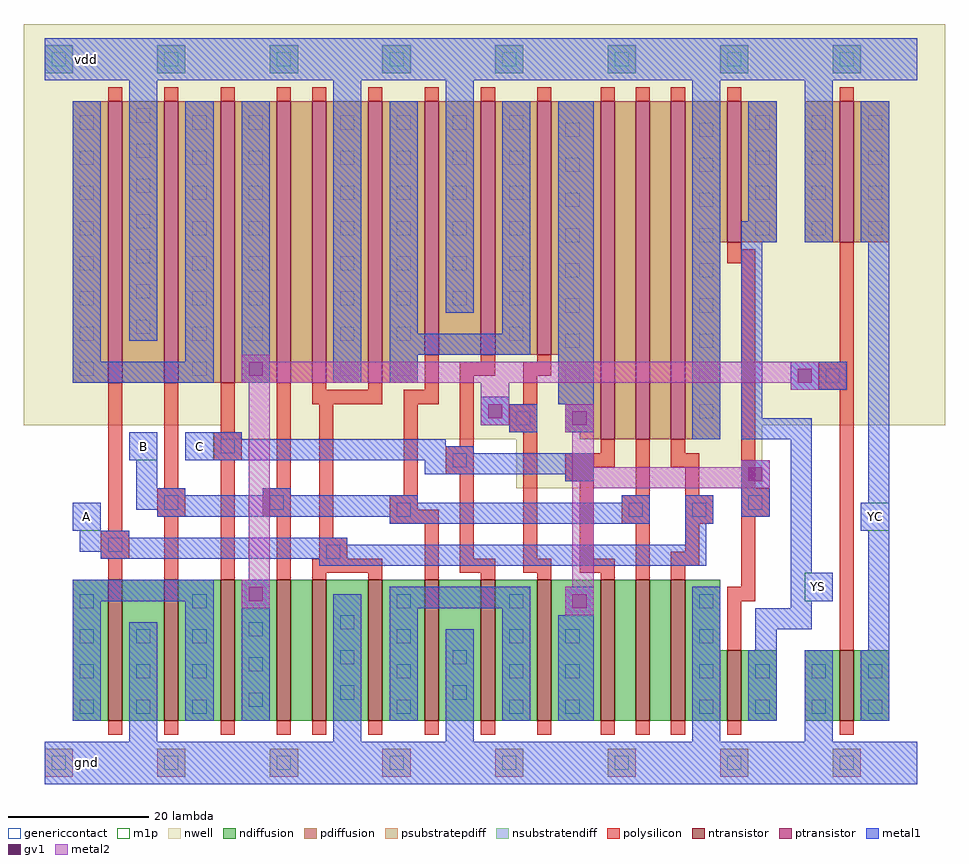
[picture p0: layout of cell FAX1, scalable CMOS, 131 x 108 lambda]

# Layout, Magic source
magic
tech scmos
<< nwell >>
rect -5 48 126 105
rect 23 46 100 48
rect 65 39 100 46
<< ntransistor >>
rect 7 6 9 26
rect 15 6 17 26
rect 23 6 25 26
rect 31 6 33 26
rect 36 6 38 26
rect 44 6 46 26
rect 52 6 54 26
rect 60 6 62 26
rect 68 6 70 26
rect 77 6 79 26
rect 82 6 84 26
rect 87 6 89 26
rect 95 6 97 16
rect 111 6 113 16
<< ptransistor >>
rect 7 54 9 94
rect 15 54 17 94
rect 23 54 25 94
rect 31 54 33 94
rect 36 54 38 94
rect 44 54 46 94
rect 52 58 54 94
rect 60 58 62 94
rect 68 58 70 94
rect 77 46 79 94
rect 82 46 84 94
rect 87 46 89 94
rect 95 74 97 94
rect 111 74 113 94
<< ndiffusion >>
rect 2 6 7 26
rect 9 6 15 26
rect 17 6 23 26
rect 25 6 31 26
rect 33 6 36 26
rect 38 6 44 26
rect 46 6 52 26
rect 54 6 60 26
rect 62 6 68 26
rect 70 6 77 26
rect 79 6 82 26
rect 84 6 87 26
rect 89 16 94 26
rect 89 6 95 16
rect 97 6 102 16
rect 106 6 111 16
rect 113 6 118 16
<< pdiffusion >>
rect 2 54 7 94
rect 9 54 15 94
rect 17 54 23 94
rect 25 54 31 94
rect 33 54 36 94
rect 38 54 44 94
rect 46 58 52 94
rect 54 58 60 94
rect 62 58 68 94
rect 70 58 77 94
rect 46 54 51 58
rect 71 51 77 58
rect 72 47 77 51
rect 74 46 77 47
rect 79 46 82 94
rect 84 46 87 94
rect 89 74 95 94
rect 97 74 102 94
rect 106 74 111 94
rect 113 74 118 94
rect 89 46 94 74
<< psubstratepdiff >>
rect -2 -2 2 2
rect 14 -2 18 2
rect 30 -2 34 2
rect 46 -2 50 2
rect 62 -2 66 2
rect 78 -2 82 2
rect 94 -2 98 2
rect 110 -2 114 2
<< nsubstratendiff >>
rect -2 98 2 102
rect 14 98 18 102
rect 30 98 34 102
rect 46 98 50 102
rect 62 98 66 102
rect 78 98 82 102
rect 94 98 98 102
rect 110 98 114 102
<< polysilicon >>
rect 7 94 9 96
rect 15 94 17 96
rect 23 94 25 96
rect 31 94 33 96
rect 36 94 38 96
rect 44 94 46 96
rect 52 94 54 96
rect 60 94 62 96
rect 68 94 70 96
rect 77 94 79 96
rect 82 94 84 96
rect 87 94 89 96
rect 95 94 97 96
rect 111 94 113 96
rect 7 33 9 54
rect 15 39 17 54
rect 23 47 25 54
rect 22 43 26 47
rect 14 35 18 39
rect 6 29 10 33
rect 7 26 9 29
rect 15 26 17 35
rect 23 26 25 43
rect 31 39 33 54
rect 36 53 38 54
rect 44 53 46 54
rect 52 53 54 58
rect 60 57 62 58
rect 68 57 70 58
rect 36 51 46 53
rect 49 51 54 53
rect 57 55 62 57
rect 66 55 70 57
rect 29 35 33 39
rect 31 26 33 35
rect 37 32 39 51
rect 49 38 51 51
rect 57 45 59 55
rect 66 51 68 55
rect 64 47 68 51
rect 55 41 59 45
rect 47 36 51 38
rect 47 34 54 36
rect 37 29 41 32
rect 36 27 46 29
rect 36 26 38 27
rect 44 26 46 27
rect 52 26 54 34
rect 57 29 59 41
rect 66 29 68 47
rect 95 73 97 74
rect 95 71 99 73
rect 77 44 79 46
rect 72 42 79 44
rect 72 40 76 42
rect 74 29 76 40
rect 82 38 84 46
rect 87 44 89 46
rect 87 42 91 44
rect 80 34 84 38
rect 57 27 62 29
rect 66 27 70 29
rect 74 27 79 29
rect 60 26 62 27
rect 68 26 70 27
rect 77 26 79 27
rect 82 26 84 34
rect 89 38 91 42
rect 97 39 99 71
rect 111 57 113 74
rect 108 53 113 57
rect 89 34 93 38
rect 97 35 101 39
rect 89 30 91 34
rect 87 28 91 30
rect 87 26 89 28
rect 97 25 99 35
rect 95 23 99 25
rect 95 16 97 23
rect 111 16 113 53
rect 7 4 9 6
rect 15 4 17 6
rect 23 4 25 6
rect 31 4 33 6
rect 36 4 38 6
rect 44 4 46 6
rect 52 4 54 6
rect 60 4 62 6
rect 68 4 70 6
rect 77 4 79 6
rect 82 4 84 6
rect 87 4 89 6
rect 95 4 97 6
rect 111 4 113 6
<< genericcontact >>
rect -1 99 1 101
rect 15 99 17 101
rect 31 99 33 101
rect 47 99 49 101
rect 63 99 65 101
rect 79 99 81 101
rect 95 99 97 101
rect 111 99 113 101
rect 3 90 5 92
rect 11 91 13 93
rect 19 90 21 92
rect 27 90 29 92
rect 40 90 42 92
rect 48 90 50 92
rect 56 90 58 92
rect 64 90 66 92
rect 72 89 74 91
rect 91 89 93 91
rect 99 90 101 92
rect 107 90 109 92
rect 115 90 117 92
rect 3 85 5 87
rect 11 86 13 88
rect 19 85 21 87
rect 27 85 29 87
rect 40 85 42 87
rect 48 85 50 87
rect 56 85 58 87
rect 64 85 66 87
rect 72 84 74 86
rect 91 84 93 86
rect 99 85 101 87
rect 107 85 109 87
rect 115 85 117 87
rect 3 80 5 82
rect 11 81 13 83
rect 19 80 21 82
rect 27 80 29 82
rect 40 80 42 82
rect 48 80 50 82
rect 56 80 58 82
rect 64 80 66 82
rect 72 79 74 81
rect 91 79 93 81
rect 99 80 101 82
rect 107 80 109 82
rect 115 80 117 82
rect 3 75 5 77
rect 11 76 13 78
rect 19 75 21 77
rect 27 75 29 77
rect 40 75 42 77
rect 48 75 50 77
rect 56 75 58 77
rect 64 75 66 77
rect 72 74 74 76
rect 91 74 93 76
rect 99 75 101 77
rect 107 75 109 77
rect 115 75 117 77
rect 3 70 5 72
rect 11 71 13 73
rect 19 70 21 72
rect 27 70 29 72
rect 40 70 42 72
rect 48 70 50 72
rect 56 70 58 72
rect 64 70 66 72
rect 72 69 74 71
rect 91 69 93 71
rect 3 65 5 67
rect 11 66 13 68
rect 19 65 21 67
rect 27 65 29 67
rect 40 65 42 67
rect 48 65 50 67
rect 56 65 58 67
rect 64 65 66 67
rect 72 64 74 66
rect 91 64 93 66
rect 3 60 5 62
rect 11 61 13 63
rect 19 60 21 62
rect 27 60 29 62
rect 40 60 42 62
rect 48 60 50 62
rect 64 60 66 62
rect 72 59 74 61
rect 91 59 93 61
rect 3 55 5 57
rect 19 55 21 57
rect 40 55 42 57
rect 48 55 50 57
rect 72 54 74 56
rect 91 54 93 56
rect 109 54 111 56
rect 65 48 67 50
rect 91 49 93 51
rect 23 44 25 46
rect 56 42 58 44
rect 73 41 75 43
rect 15 36 17 38
rect 30 36 32 38
rect 48 35 50 37
rect 81 35 83 37
rect 90 35 92 37
rect 98 36 100 38
rect 7 30 9 32
rect 38 29 40 31
rect 3 22 5 24
rect 19 22 21 24
rect 48 22 50 24
rect 64 22 66 24
rect 91 22 93 24
rect 3 17 5 19
rect 11 17 13 19
rect 19 17 21 19
rect 27 18 29 20
rect 40 19 42 21
rect 48 17 50 19
rect 64 17 66 19
rect 72 17 74 19
rect 91 17 93 19
rect 3 12 5 14
rect 11 12 13 14
rect 19 12 21 14
rect 27 13 29 15
rect 40 14 42 16
rect 56 14 58 16
rect 48 12 50 14
rect 64 12 66 14
rect 72 12 74 14
rect 91 12 93 14
rect 99 12 101 14
rect 107 12 109 14
rect 115 12 117 14
rect 3 7 5 9
rect 11 7 13 9
rect 19 7 21 9
rect 27 8 29 10
rect 40 9 42 11
rect 56 9 58 11
rect 48 7 50 9
rect 64 7 66 9
rect 72 7 74 9
rect 91 7 93 9
rect 99 7 101 9
rect 107 7 109 9
rect 115 7 117 9
rect -1 -1 1 1
rect 15 -1 17 1
rect 31 -1 33 1
rect 47 -1 49 1
rect 63 -1 65 1
rect 79 -1 81 1
rect 95 -1 97 1
rect 111 -1 113 1
<< metal1 >>
rect -2 97 122 103
rect 2 57 6 94
rect 10 60 14 97
rect 18 57 22 94
rect 2 54 22 57
rect 26 54 30 94
rect 39 54 43 97
rect 47 61 51 94
rect 55 64 59 97
rect 63 61 67 94
rect 47 58 67 61
rect 47 54 51 58
rect 60 51 64 52
rect 71 51 76 94
rect 60 48 68 51
rect 64 47 68 48
rect 72 47 76 51
rect 10 43 14 47
rect 18 46 26 47
rect 90 46 94 97
rect 98 77 102 94
rect 97 74 102 77
rect 106 74 110 97
rect 114 74 118 94
rect 97 49 100 74
rect 104 53 112 57
rect 97 46 107 49
rect 18 45 55 46
rect 18 44 59 45
rect 18 43 76 44
rect 11 39 14 43
rect 52 41 76 43
rect 72 40 76 41
rect 11 38 18 39
rect 29 38 33 39
rect 11 37 51 38
rect 80 37 84 38
rect 2 33 6 37
rect 11 36 84 37
rect 14 35 84 36
rect 47 34 84 35
rect 89 34 93 38
rect 97 35 101 43
rect 3 32 10 33
rect 3 31 41 32
rect 89 31 92 34
rect 3 30 92 31
rect 6 29 92 30
rect 37 28 92 29
rect 104 27 107 46
rect 115 37 118 74
rect 114 33 118 37
rect 2 23 22 26
rect 2 6 6 23
rect 10 3 14 20
rect 18 6 22 23
rect 26 6 30 26
rect 39 3 43 24
rect 47 22 67 25
rect 47 6 51 22
rect 55 3 59 19
rect 63 6 67 22
rect 72 21 76 25
rect 71 6 76 21
rect 90 3 94 25
rect 104 23 110 27
rect 104 22 107 23
rect 99 19 107 22
rect 99 16 102 19
rect 115 16 118 33
rect 98 6 102 16
rect 106 3 110 16
rect 114 6 118 16
rect -2 -3 122 3
<< metal2 >>
rect 26 57 30 58
rect 26 54 108 57
rect 27 26 30 54
rect 60 48 64 54
rect 104 53 108 54
rect 72 47 76 51
rect 26 22 30 26
rect 73 42 76 47
rect 97 42 101 43
rect 73 39 101 42
rect 73 25 76 39
rect 72 21 76 25
<< gv1 >>
rect 27 55 29 57
rect 105 54 107 56
rect 61 49 63 51
rect 73 48 75 50
rect 98 40 100 42
rect 27 23 29 25
rect 73 22 75 24
<< m1p >>
rect 10 43 14 47
rect 18 43 22 47
rect 2 33 6 37
rect 114 33 118 37
rect 106 23 110 27
<< labels >>
rlabel metal1 4 0 4 0 8 gnd
rlabel metal1 4 100 4 100 6 vdd
rlabel metal1 4 35 4 35 6 A
rlabel metal1 12 45 12 45 6 B
rlabel metal1 20 45 20 45 6 C
rlabel metal1 116 35 116 35 6 YC
rlabel metal1 108 25 108 25 6 YS
<< end >>
